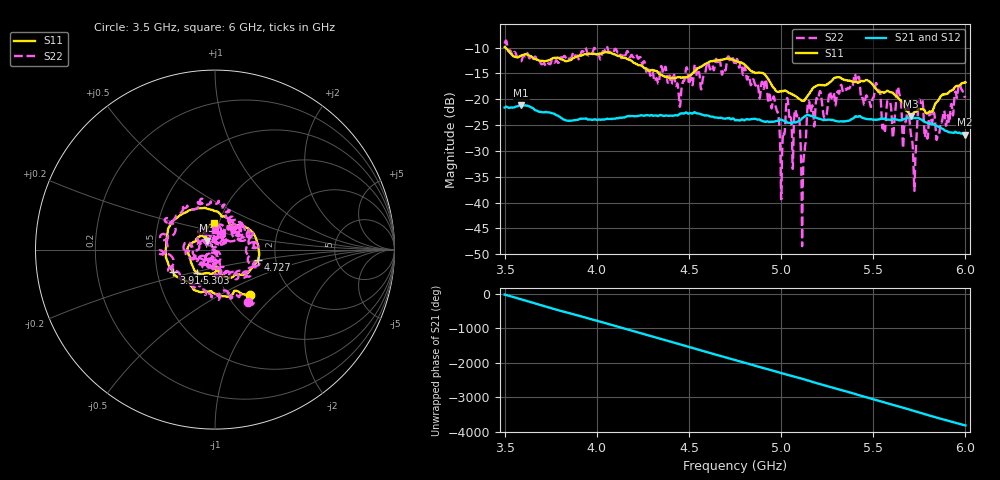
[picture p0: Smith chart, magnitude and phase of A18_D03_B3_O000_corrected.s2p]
! Created with skrf 1.9.0 (http://scikit-rf.org).
# Hz S RI R 50.0
!freq ReS11 ImS11 ReS21 ImS21 ReS12 ImS12 ReS22 ImS22
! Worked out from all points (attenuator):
!   1601 points, 3.5 GHz to 6 GHz, reference 50 ohm
!   highest |S21| = -21.17 dB at 3.591 GHz (marker M1); lowest = -26.8 dB at 5.995 GHz (marker M2)
!   lowest |S11| = -23.3 dB at 5.705 GHz (marker M3), VSWR 1.15, Z = 45.4 + j4.62 ohm
!   |S11| at or under -10 dB: 3.504 GHz to end of sweep
!   |S22| runs from -48.5 to -8.6 dB; largest |S21 - S12| = 0.001
!   S11 on the Smith chart (normalised r, x): 3.5 GHz: 1.26, -0.71; 3.914 GHz: 0.61, -0.17; 4.727 GHz: 1.62, -0.19; 5.303 GHz: 0.79, -0.21; 6 GHz: 0.94, +0.28
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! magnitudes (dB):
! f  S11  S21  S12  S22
! 3.5 GHz  -9.9  -21.6  -21.6  -9.2
! 3.591 GHz  -11.5  -21.2  -21.2  -12.6
! 3.914 GHz  -11.5  -23.8  -23.8  -11.1
! 3.917 GHz  -11.5  -23.8  -23.8  -10.8
! 4.334 GHz  -14.9  -23.2  -23.2  -17.0
! 4.727 GHz  -12.1  -23.9  -23.7  -12.9
! 4.75 GHz  -12.6  -24.1  -24.0  -13.5
! 4.967 GHz  -18.1  -24.3  -24.2  -20.6
! 5.005 GHz  -18.4  -24.0  -24.0  -31.7
! 5.033 GHz  -18.5  -24.5  -24.4  -19.8
! 5.086 GHz  -19.6  -24.4  -24.4  -23.3
! 5.119 GHz  -20.3  -23.6  -23.5  -34.9
! 5.145 GHz  -19.3  -23.0  -23.0  -20.9
! 5.167 GHz  -18.1  -23.3  -23.2  -21.3
! 5.303 GHz  -15.8  -24.3  -24.2  -19.0
! 5.584 GHz  -18.5  -23.9  -23.9  -20.4
! 5.705 GHz  -23.3  -23.7  -23.7  -26.9
! 5.722 GHz  -22.5  -23.6  -23.6  -37.1
! 5.756 GHz  -21.9  -23.9  -23.8  -20.7
! 5.85 GHz  -20.3  -25.3  -25.2  -27.0
! 5.995 GHz  -16.7  -26.8  -26.8  -19.5
! 6 GHz  -16.7  -26.8  -26.8  -19.4
